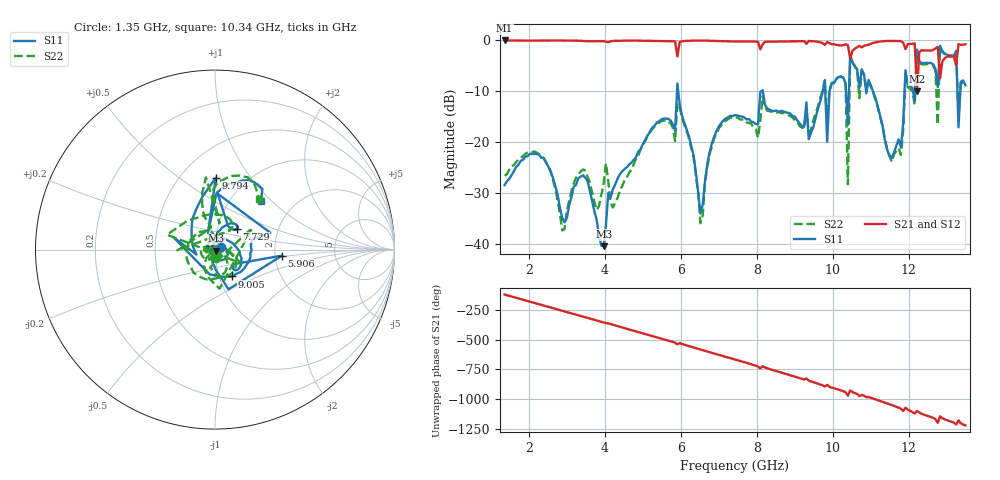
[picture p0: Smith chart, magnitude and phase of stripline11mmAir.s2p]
!Agilent Technologies,N5230C,MY48100320,A.08.04.10
!Agilent N5230C: A.08.04.10
!Date: Thursday, August 04, 2016 03:58:15
!Correction: S11(Full 2 Port(1,2))
!S21(Full 2 Port(1,2))
!S12(Full 2 Port(1,2))
!S22(Full 2 Port(1,2))
!S2P File: Measurements: S11, S21, S12, S22:
# Hz S  dB  R 50
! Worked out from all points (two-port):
!   201 points, 1.35 GHz to 13.5 GHz, reference 50 ohm
!   highest |S21| = -0.10 dB at 1.35 GHz (marker M1); lowest = -10.1 dB at 12.22 GHz (marker M2)
!   |S21| within 3 dB of the highest: start of sweep to 5.903 GHz; 5.91 GHz to 10.45 GHz (4.54 GHz wide, 55.5 % of centre)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
!   lowest |S11| = -40.4 dB at 3.962 GHz (marker M3), VSWR 1.02, Z = 50.7 - j0.662 ohm
!   |S11| at or under -10 dB: start of sweep to 5.897 GHz; 5.928 GHz to 8.123 GHz (2.194 GHz wide, 31.2 % of centre); 8.157 GHz to 9.743 GHz (1.585 GHz wide, 17.7 % of centre)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
!   |S22| runs from -37.3 to -1.5 dB; largest |S21 - S12| = 0.0034
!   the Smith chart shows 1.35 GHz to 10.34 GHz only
!   S11 on the Smith chart (normalised r, x): 1.35 GHz: 1.07, +0.03; 5.906 GHz: 2.18, -0.17; 7.729 GHz: 1.23, +0.29; 9.005 GHz: 1.15, -0.36; 9.794 GHz: 0.73, +0.69; 10.34 GHz: 1.37, +0.87
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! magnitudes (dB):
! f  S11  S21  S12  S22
! 1.35 GHz  -28.4  -0.1  -0.1  -26.6
! 2.322 GHz  -23.1  -0.1  -0.1  -22.6
! 2.869 GHz  -34.8  -0.1  -0.1  -37.3
! 3.416 GHz  -26.5  -0.2  -0.2  -25.4
! 3.962 GHz  -40.4  -0.2  -0.2  -28.1
! 5.42 GHz  -16.0  -0.2  -0.2  -16.2
! 5.906 GHz  -8.5  -3.2  -3.2  -12.4
! 6.514 GHz  -34.0  -0.1  -0.1  -35.9
! 7.425 GHz  -14.7  -0.3  -0.3  -15.3
! 7.729 GHz  -15.6  -0.3  -0.3  -16.1
! 9.005 GHz  -15.0  -0.3  -0.3  -15.7
! 9.491 GHz  -17.1  -0.3  -0.3  -15.8
! 9.794 GHz  -8.0  -1.0  -1.0  -7.8
! 9.855 GHz  -19.9  -0.4  -0.4  -16.6
! 10.34 GHz  -8.6  -0.9  -0.9  -8.6
! 10.4 GHz  -16.6  -1.0  -1.0  -28.3
! 10.46 GHz  -2.8  -3.7  -3.7  -3.0
! 11.5 GHz  -22.7  -0.2  -0.2  -22.5
! 12.22 GHz  -1.9  -10.1  -10.1  -2.3
! 12.77 GHz  -9.2  -1.4  -1.4  -16.6
! 12.83 GHz  -1.1  -7.5  -7.5  -1.5
! 13.5 GHz  -8.8  -0.8  -0.8  -9.2
